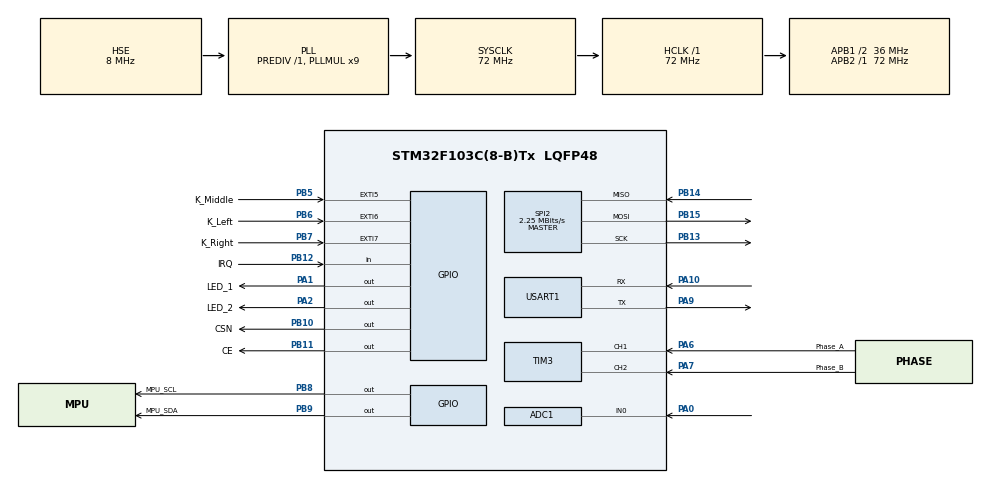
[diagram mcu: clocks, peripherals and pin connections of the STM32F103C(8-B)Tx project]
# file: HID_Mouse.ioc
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ADC1.Channel-1\#ChannelRegularConversion=ADC_CHANNEL_0
ADC1.NbrOfConversionFlag=1
ADC1.Rank-1\#ChannelRegularConversion=1
ADC1.SamplingTime-1\#ChannelRegularConversion=ADC_SAMPLETIME_1CYCLE_5
ADC1.master=1
FREERTOS.Tasks01=defaultTask,24,128,StartDefaultTask,Default,NULL,Dynamic,NULL,NULL
Mcu.Family=STM32F1
Mcu.Name=STM32F103C(8-B)Tx
Mcu.Package=LQFP48
NVIC.EXTI9_5_IRQn=true\:6\:0\:true\:false\:true\:true\:true\:true\:true
NVIC.PriorityGroup=NVIC_PRIORITYGROUP_4
NVIC.TIM1_UP_IRQn=true\:15\:0\:true\:false\:true\:false\:false\:true\:true
NVIC.TIM2_IRQn=true\:7\:0\:true\:false\:true\:true\:true\:true\:true
NVIC.TIM4_IRQn=true\:5\:0\:false\:false\:true\:true\:true\:true\:true
NVIC.TimeBase=TIM1_UP_IRQn
NVIC.TimeBaseIP=TIM1
PA0-WKUP.Signal=ADCx_IN0
PA1.GPIO_Label=LED_1
PA1.GPIO_PuPd=GPIO_PULLDOWN
PA1.PinState=GPIO_PIN_RESET
PA1.Signal=GPIO_Output
PA10.Mode=Asynchronous
PA10.Signal=USART1_RX
PA13.Mode=Serial_Wire
PA13.Signal=SYS_JTMS-SWDIO
PA14.Mode=Serial_Wire
PA14.Signal=SYS_JTCK-SWCLK
PA2.GPIO_Label=LED_2
PA2.GPIO_PuPd=GPIO_PULLDOWN
PA2.Signal=GPIO_Output
PA6.GPIO_Label=Phase_A
PA6.GPIO_PuPd=GPIO_PULLUP
PA6.Signal=S_TIM3_CH1
PA7.GPIO_Label=Phase_B
PA7.GPIO_PuPd=GPIO_PULLUP
PA7.Signal=S_TIM3_CH2
PA9.Mode=Asynchronous
PA9.Signal=USART1_TX
PB10.GPIO_Label=CSN
PB10.GPIO_Speed=GPIO_SPEED_FREQ_HIGH
PB10.PinState=GPIO_PIN_SET
PB10.Signal=GPIO_Output
PB11.GPIO_Label=CE
PB11.GPIO_Speed=GPIO_SPEED_FREQ_HIGH
PB11.PinState=GPIO_PIN_SET
PB11.Signal=GPIO_Output
PB12.GPIO_Label=IRQ
PB12.GPIO_PuPd=GPIO_PULLUP
PB12.Signal=GPIO_Input
PB13.Mode=Full_Duplex_Master
PB13.Signal=SPI2_SCK
PB14.Mode=Full_Duplex_Master
PB14.Signal=SPI2_MISO
PB15.Mode=Full_Duplex_Master
PB15.Signal=SPI2_MOSI
PB5.GPIO_Label=K_Middle
PB5.GPIO_ModeDefaultEXTI=GPIO_MODE_IT_FALLING
PB5.GPIO_PuPd=GPIO_PULLUP
PB5.Signal=GPXTI5
PB6.GPIO_Label=K_Left
PB6.GPIO_ModeDefaultEXTI=GPIO_MODE_IT_FALLING
PB6.GPIO_PuPd=GPIO_PULLUP
PB6.Signal=GPXTI6
PB7.GPIO_Label=K_Right
PB7.GPIO_ModeDefaultEXTI=GPIO_MODE_IT_FALLING
PB7.GPIO_PuPd=GPIO_PULLUP
PB7.Signal=GPXTI7
PB8.GPIO_Label=MPU_SCL
PB8.GPIO_ModeDefaultOutputPP=GPIO_MODE_OUTPUT_OD
PB8.GPIO_PuPd=GPIO_PULLUP
PB8.GPIO_Speed=GPIO_SPEED_FREQ_HIGH
PB8.PinState=GPIO_PIN_SET
PB8.Signal=GPIO_Output
PB9.GPIO_Label=MPU_SDA
PB9.GPIO_ModeDefaultOutputPP=GPIO_MODE_OUTPUT_OD
PB9.GPIO_PuPd=GPIO_PULLUP
PB9.GPIO_Speed=GPIO_SPEED_FREQ_HIGH
PB9.PinState=GPIO_PIN_SET
PB9.Signal=GPIO_Output
PD0-OSC_IN.Mode=HSE-External-Oscillator
PD0-OSC_IN.Signal=RCC_OSC_IN
PD1-OSC_OUT.Mode=HSE-External-Oscillator
PD1-OSC_OUT.Signal=RCC_OSC_OUT
ProjectManager.HeapSize=0x200
ProjectManager.StackSize=0x400
ProjectManager.TargetToolchain=MDK-ARM V5.32
RCC.ADCPresc=RCC_ADCPCLK2_DIV6
RCC.AHBFreq_Value=72000000
RCC.APB1CLKDivider=RCC_HCLK_DIV2
RCC.APB1Freq_Value=36000000
RCC.APB1TimFreq_Value=72000000
RCC.APB2Freq_Value=72000000
RCC.APB2TimFreq_Value=72000000
RCC.HCLKFreq_Value=72000000
RCC.PLLMUL=RCC_PLL_MUL9
RCC.PLLSourceVirtual=RCC_PLLSOURCE_HSE
RCC.SYSCLKFreq_VALUE=72000000
RCC.SYSCLKSource=RCC_SYSCLKSOURCE_PLLCLK
RCC.USBFreq_Value=48000000
RCC.USBPrescaler=RCC_USBCLKSOURCE_PLL_DIV1_5
SH.ADCx_IN0.0=ADC1_IN0,IN0
SH.S_TIM3_CH1.0=TIM3_CH1,Encoder_Interface
SH.S_TIM3_CH2.0=TIM3_CH2,Encoder_Interface
SPI2.BaudRatePrescaler=SPI_BAUDRATEPRESCALER_16
SPI2.CalculateBaudRate=2.25 MBits/s
SPI2.Direction=SPI_DIRECTION_2LINES
SPI2.Mode=SPI_MODE_MASTER
SPI2.VirtualType=VM_MASTER
TIM2.AutoReloadPreload=TIM_AUTORELOAD_PRELOAD_ENABLE
TIM2.Period=2000-1
TIM2.Prescaler=720-1
TIM3.EncoderMode=TIM_ENCODERMODE_TI12
TIM3.IC1Filter=15
TIM3.IC2Filter=15
TIM3.TIM_MasterSlaveMode=TIM_MASTERSLAVEMODE_DISABLE
TIM4.Period=1000-1
TIM4.Prescaler=720-1
USART1.VirtualMode=VM_ASYNC
VP_FREERTOS_VS_CMSIS_V2.Mode=CMSIS_V2
VP_SYS_VS_tim1.Mode=TIM1
VP_TIM2_VS_ClockSourceINT.Mode=Internal
VP_TIM4_VS_ClockSourceINT.Mode=Internal
board=custom

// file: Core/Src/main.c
/* USER CODE BEGIN Header */
/**
  ******************************************************************************
  * @file           : main.c
  * @brief          : Main program body
  ******************************************************************************
  * @attention
  *
  * Copyright (c) 2025 STMicroelectronics.
  * All rights reserved.
  *
  * This software is licensed under terms that can be found in the LICENSE file
  * in the root directory of this software component.
  * If no LICENSE file comes with this software, it is provided AS-IS.
  *
  ******************************************************************************
  */
/* USER CODE END Header */
#include "main.h"
#include "cmsis_os.h"
#include "adc.h"
#include "spi.h"
#include "tim.h"
#include "usart.h"
#include "gpio.h"

/* USER CODE BEGIN Includes */
#include <stdio.h>  // ���������ͷ�ļ�������printf
/* USER CODE END Includes */

void SystemClock_Config(void);
void MX_FREERTOS_Init(void);

int main(void)
{

  /* MCU Configuration--------------------------------------------------------*/

  /* Reset of all peripherals, Initializes the Flash interface and the Systick. */
  HAL_Init();

  /* Configure the system clock */
  SystemClock_Config();

  /* Initialize all configured peripherals */
  MX_GPIO_Init();
  MX_SPI2_Init();
  MX_USART1_UART_Init();
  MX_ADC1_Init();
  MX_TIM2_Init();
  MX_TIM3_Init();
  MX_TIM4_Init();

  /* Init scheduler */
  osKernelInitialize();

  /* Call init function for freertos objects (in cmsis_os2.c) */
  MX_FREERTOS_Init();

  /* Start scheduler */
  osKernelStart();

  /* We should never get here as control is now taken by the scheduler */

  /* Infinite loop */
  while (1)
  {

  }
}

void SystemClock_Config(void)
{
  RCC_OscInitTypeDef RCC_OscInitStruct = {0};
  RCC_ClkInitTypeDef RCC_ClkInitStruct = {0};
  RCC_PeriphCLKInitTypeDef PeriphClkInit = {0};

  /** Initializes the RCC Oscillators according to the specified parameters
  * in the RCC_OscInitTypeDef structure.
  */
  RCC_OscInitStruct.OscillatorType = RCC_OSCILLATORTYPE_HSE;
  RCC_OscInitStruct.HSEState = RCC_HSE_ON;
  RCC_OscInitStruct.HSEPredivValue = RCC_HSE_PREDIV_DIV1;
  RCC_OscInitStruct.HSIState = RCC_HSI_ON;
  RCC_OscInitStruct.PLL.PLLState = RCC_PLL_ON;
  RCC_OscInitStruct.PLL.PLLSource = RCC_PLLSOURCE_HSE;
  RCC_OscInitStruct.PLL.PLLMUL = RCC_PLL_MUL9;
  if (HAL_RCC_OscConfig(&RCC_OscInitStruct) != HAL_OK)
  {
    Error_Handler();
  }

  /** Initializes the CPU, AHB and APB buses clocks
  */
  RCC_ClkInitStruct.ClockType = RCC_CLOCKTYPE_HCLK|RCC_CLOCKTYPE_SYSCLK
                              |RCC_CLOCKTYPE_PCLK1|RCC_CLOCKTYPE_PCLK2;
  RCC_ClkInitStruct.SYSCLKSource = RCC_SYSCLKSOURCE_PLLCLK;
  RCC_ClkInitStruct.AHBCLKDivider = RCC_SYSCLK_DIV1;
  RCC_ClkInitStruct.APB1CLKDivider = RCC_HCLK_DIV2;
  RCC_ClkInitStruct.APB2CLKDivider = RCC_HCLK_DIV1;

  if (HAL_RCC_ClockConfig(&RCC_ClkInitStruct, FLASH_LATENCY_2) != HAL_OK)
  {
    Error_Handler();
  }
  PeriphClkInit.PeriphClockSelection = RCC_PERIPHCLK_ADC;
  PeriphClkInit.AdcClockSelection = RCC_ADCPCLK2_DIV6;
  if (HAL_RCCEx_PeriphCLKConfig(&PeriphClkInit) != HAL_OK)
  {
    Error_Handler();
  }
}

void Error_Handler(void)
{
  __disable_irq();
  while (1)
  {
  }
}

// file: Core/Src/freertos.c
/* USER CODE BEGIN Header */
/**
  ******************************************************************************
  * File Name          : freertos.c
  * Description        : Code for freertos applications
  ******************************************************************************
  * @attention
  *
  * Copyright (c) 2025 STMicroelectronics.
  * All rights reserved.
  *
  * This software is licensed under terms that can be found in the LICENSE file
  * in the root directory of this software component.
  * If no LICENSE file comes with this software, it is provided AS-IS.
  *
  ******************************************************************************
  */
/* USER CODE END Header */

#include "FreeRTOS.h"
#include "task.h"
#include "main.h"
#include "cmsis_os.h"
#include "tim.h"

/* USER CODE BEGIN Includes */
#include "adc.h"
#include "NRF24L01.h"
#include "stdio.h"
#include "MPU6050.h"
#include "inv_mpu.h"
#include "inv_mpu_dmp_motion_driver.h"
#include <stdlib.h>  // 提供abs()函数声明
#include <math.h>    // 提供fabsf()函数声明
/* USER CODE END Includes */

/* USER CODE BEGIN PTD */
//数值限幅
#define CONSTRAIN(value, min, max)  ((value) < (min) ? (min) : ((value) > (max) ? (max) : (value)))
/* USER CODE END PTD */

/* USER CODE BEGIN PM */
//???
static TaskHandle_t SendData_TaskHandle;
static TaskHandle_t MPU6050_TaskHandle ;
static TaskHandle_t Battery_TaskHandle ;
static TaskHandle_t UART_TaskHandle;
/* USER CODE END PM */

/* USER CODE BEGIN Variables */
uint16_t ADC_Value1;
uint8_t Buf[32];
uint8_t Key_SendFlag;
float angel_pitch,angel_roll,angel_yaw;
/* USER CODE END Variables */
/* Definitions for defaultTask */
osThreadId_t defaultTaskHandle;
const osThreadAttr_t defaultTask_attributes = {
  .name = "defaultTask",
  .stack_size = 128 * 4,
  .priority = (osPriority_t) osPriorityNormal,
};

/* USER CODE BEGIN FunctionPrototypes */
void SendData_Task(void * params);
void MPU6050_Task(void * params);
void Battery_Task(void * params);
void UART_Task(void * params);
void AirMouse_Update(float pitch, float roll, uint8_t *Buf_Data) ;
/* USER CODE END FunctionPrototypes */

void StartDefaultTask(void *argument);

void MX_FREERTOS_Init(void); /* (MISRA C 2004 rule 8.1) */

void MX_FREERTOS_Init(void) {
  /* USER CODE BEGIN Init */
  NRF24L01_Init();
	if(MPU_Init())
		printf("MPU6050_Init Error.\r\n");
	else
		printf("MPU6050_Init Success.\r\n");
  mpu_dmp_init();
  /* USER CODE END Init */

  /* Create the thread(s) */
  /* creation of defaultTask */
  //defaultTaskHandle = osThreadNew(StartDefaultTask, NULL, &defaultTask_attributes);

  /* USER CODE BEGIN RTOS_THREADS */
//  xTaskCreate(SendData_Task,"SendData_Task", 128, NULL, osPriorityNormal+5, &SendData_TaskHandle);//创建发送数据任务
  xTaskCreate(MPU6050_Task, "MPU6050_Task", 128, NULL, osPriorityNormal+4, &MPU6050_TaskHandle);//创建姿态解算任务
	xTaskCreate(UART_Task, "UART_Task", 128, NULL, osPriorityNormal+3, &UART_TaskHandle);
//  xTaskCreate(Battery_Task, "Battery_Task", 128, NULL, osPriorityNormal+2, &Battery_TaskHandle);//创建电源管理任务

  /* USER CODE END RTOS_THREADS */

}

void StartDefaultTask(void *argument)
{
  for(;;)
  {
    osDelay(1);
  }
}

/* USER CODE BEGIN Application */

//通信或信号量启动而后关闭
void UART_Task(void * params)
{
	while(1)
	{
		printf("pitch:%.1f,roll:%.1f,yaw:%.1f",angel_pitch, angel_roll, angel_yaw);
		vTaskDelay(1000);//10s调用丿欿
	}

}

uint8_t Encoder_GetCount()
{
		int16_t count = (int16_t)__HAL_TIM_GET_COUNTER(&htim3);// 读取当前编码器计数值
		__HAL_TIM_SET_COUNTER(&htim3, 0);// 清零计数值
		uint8_t enc_count = (uint8_t)(count & 0xFF);  // 取低8位
	  return enc_count;
}

void SendData_Task(void * params)
{
	uint8_t i;
	while(1)
	{
		Buf[0]=Key_Number;//存入按键数据
		Buf[3]=Encoder_GetCount();//存入编码器数据
		Send(Buf);//发生2.4G通信数据
 //	printf("Buf: %3d, %3d, %3d, %3d.\r\n",Buf[0],Buf[1],Buf[2],Buf[3]);//串口调试
    Key_SendFlag++;//按键发送标志，对于按键需要多发生几次
		if(Key_SendFlag==3)  //按键数据多发送几次
    {Key_SendFlag=0;Key_Number=0;}
		for (i = 0; i < 5; i++) Buf[i] = 0;
		vTaskDelay(10);
	}
}

void MPU6050_Task(void * params)
{
	static uint8_t TimeOUT;
	while(1)
	{
		while(mpu_dmp_get_data(&angel_pitch, &angel_roll, &angel_yaw)&&TimeOUT<3)//获取姿态角数据，如果返回值非0则会再次尝试读取
		{
			mpu_dmp_get_data(&angel_pitch, &angel_roll, &angel_yaw);
			TimeOUT++;//尝试三次
		}
		TimeOUT=0;//清除计数
		AirMouse_Update(angel_roll, angel_yaw, Buf);//将横滚角和偏航角数据转换为鼠标光标的xy轴移动数据
		vTaskDelay(10);//延时10ms
	}
}

//通信或信号量启动而后关闭
void Battery_Task(void * params)
{
	float Bat_Value;
	while(1)
	{
		//电量监测
		HAL_ADC_Start(&hadc1);
		HAL_ADC_PollForConversion(&hadc1,HAL_MAX_DELAY);//等待ADC转换完成
		ADC_Value1=(uint16_t)HAL_ADC_GetValue(&hadc1);//通过ADC采样获取采样值
		//3.7v锂电池的满电为4.2v,进行了分压，adc采样是12位对应111111111111，满量程=4095,ADC采样的标准电压3.3V
		Bat_Value=((float)ADC_Value1*3.3/4095)/2.1 *100;//将adc采样数据转换位实际电量百分比
		HAL_GPIO_WritePin(LED_1_GPIO_Port,LED_1_Pin, (Bat_Value<=20)? GPIO_PIN_RESET: GPIO_PIN_SET);
		HAL_GPIO_WritePin(LED_2_GPIO_Port,LED_2_Pin, (Bat_Value<=20)? GPIO_PIN_SET: GPIO_PIN_RESET);
		vTaskDelay(10000);//10s调用一次
//		vTaskDelete(NULL);//任务自杀
	}

}

/**
 * @brief     将横滚角和偏航角数据转换为鼠标光标的xy轴移动数据
 * @param     横滚角和偏航角
 * @param     存储xy轴数据数组
 * @retval    无
 */
void AirMouse_Update(float roll, float yaw,uint8_t *Buf_Data)
{
    // 参数定义
    const float CALIBRATION_THRESHOLD = 0.8f; // 限制零漂
    const float MAX_DELTA_ANGLE = 15.0f;     // 最大变化角度
    const float SENSITIVITY = 10.0f;          // 灵敏度系数
    const uint8_t DEAD_ZONE = 5;              //死区角度

    // 计算角度变化量
    static float last_roll = 0, last_yaw = 0;
    float delta_roll = roll - last_roll;
    float delta_yaw = yaw - last_yaw;
    last_roll = roll;
    last_yaw = yaw;

    // 动态零漂校准
    if(fabs(delta_roll) < CALIBRATION_THRESHOLD &&
       fabs(delta_yaw) < CALIBRATION_THRESHOLD) {
        delta_roll = delta_yaw = 0;
    }

    // 速度限制
    delta_roll = CONSTRAIN(delta_roll, -MAX_DELTA_ANGLE, MAX_DELTA_ANGLE);
    delta_yaw = CONSTRAIN(delta_yaw, -MAX_DELTA_ANGLE, MAX_DELTA_ANGLE);

    // 转换为有符号HID报告值，-1是保证选择方向和鼠标移动方向一致
    int8_t x_move = (int8_t)(delta_yaw * SENSITIVITY)*(-1);
    int8_t y_move = (int8_t)(delta_roll * SENSITIVITY)*(-1);

		// 死区处理，即小于这个值的数据会被清零，减小误差，abs函数是取绝对值函数
    if(abs(x_move) < DEAD_ZONE) x_move = 0;
    if(abs(y_move) < DEAD_ZONE) y_move = 0;

     Buf_Data[1]=(uint8_t)(x_move & 0xFF);
     Buf_Data[2]=(uint8_t)(y_move & 0xFF);

}
/* USER CODE END Application */
